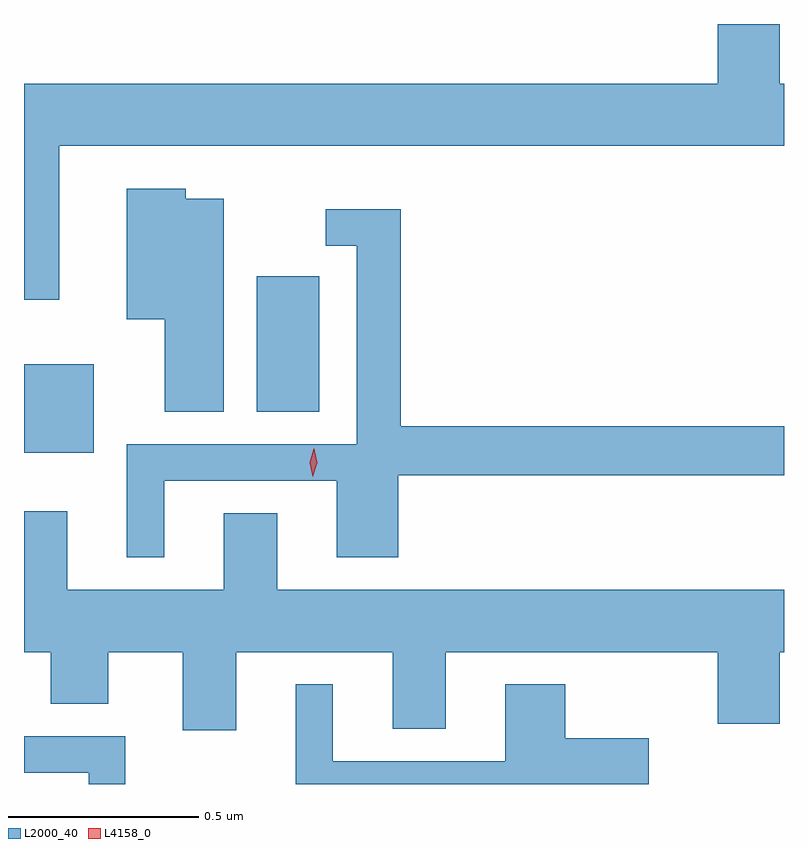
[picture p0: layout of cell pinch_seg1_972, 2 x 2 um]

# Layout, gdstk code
import gdstk
lib = gdstk.Library(unit=1e-6, precision=1e-09)
def R(c, l, rs):  # rectangles x0, y0, x1, y1
    for r in rs: c.add(gdstk.rectangle(r[:2], r[2:], *l))
def P(c, l, *ps):  # polygons
    for p in ps: c.add(gdstk.Polygon(p, *l))
L2000_40 = (2000, 40)
L4158_0 = (4158, 0)

pinch_seg1_972 = lib.new_cell('pinch_seg1_972')
R(pinch_seg1_972, L2000_40, [(211.135,580.229,211.318,580.462), (211.748,580.336,211.912,580.693)])
P(pinch_seg1_972, L2000_40, [(211.228,581.036),(213.135,581.036),(213.135,581.2),(213.124,581.2),(213.124,581.357),(212.96,581.357),(212.96,581.2),(211.135,581.2),(211.135,580.632),(211.228,580.632)],
  [(211.66,580.897),(211.56,580.897),(211.56,580.924),(211.406,580.924),(211.406,580.58),(211.505,580.58),(211.505,580.336),(211.66,580.336)],
  [(211.504,580.155),(211.958,580.155),(211.958,579.954),(212.12,579.954),(212.12,580.17),(213.135,580.17),(213.135,580.298),(212.126,580.298),(212.126,580.87),(211.929,580.87),(211.929,580.773),(212.01,580.773),(212.01,580.251),(211.406,580.251),(211.406,579.954),(211.504,579.954)],
  [(211.693,579.704),(212.105,579.704),(212.105,579.502),(212.245,579.502),(212.245,579.704),(212.96,579.704),(212.96,579.516),(213.124,579.516),(213.124,579.704),(213.135,579.704),(213.135,579.868),(211.801,579.868),(211.801,580.07),(211.661,580.07),(211.661,579.868),(211.249,579.868),(211.249,580.075),(211.135,580.075),(211.135,579.704),(211.205,579.704),(211.205,579.568),(211.357,579.568),(211.357,579.704),(211.553,579.704),(211.553,579.498),(211.693,579.498)],
  [(212.779,579.478),(212.559,579.478),(212.559,579.619),(212.402,579.619),(212.402,579.417),(211.948,579.417),(211.948,579.619),(211.85,579.619),(211.85,579.357),(212.779,579.357)],
  [(211.401,579.483),(211.135,579.483),(211.135,579.387),(211.305,579.387),(211.305,579.357),(211.401,579.357)])
P(pinch_seg1_972, L4158_0, [(211.895,580.166),(211.895,580.166),(211.887,580.203),(211.898,580.239),(211.898,580.239),(211.899,580.239),(211.907,580.202),(211.895,580.166)])

lib.write_gds('pinch_seg1_972.gds')
